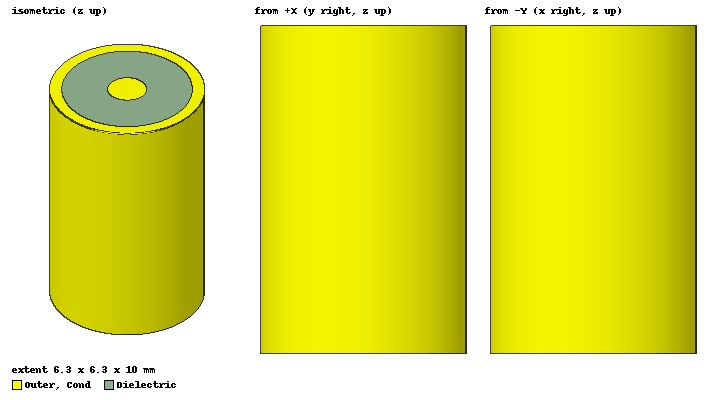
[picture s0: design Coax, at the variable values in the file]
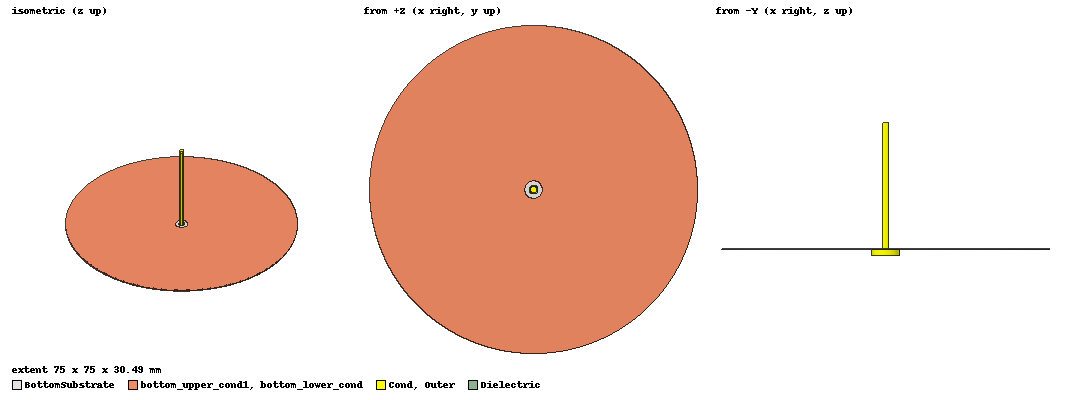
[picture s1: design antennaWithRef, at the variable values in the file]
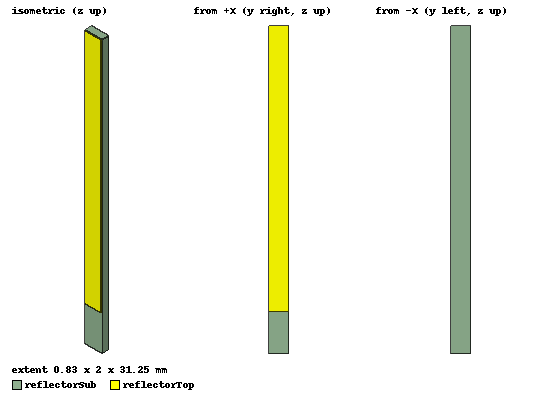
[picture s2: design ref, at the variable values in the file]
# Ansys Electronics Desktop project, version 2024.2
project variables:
  $groundT = 17um
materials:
  vacuum: permittivity=1
  Teflon (tm): permittivity=2.1 dielectric_loss_tangent=0.001
  copper: permeability=0.999991 conductivity=58000000
  Rogers RO4003 (tm): permittivity=3.55 dielectric_loss_tangent=0.0027

design Coax (HFSS, HFSS Terminal Network, model units mm)
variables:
  Hout = 10mm
  Hdia = 10mm
  Rout = 3.15mm
  Rdia = 2.65mm
  Hcond = 10mm
  Rcond = 0.79mm
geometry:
  Outer [copper] = cylinder(axis=Z, base_centre=(0mm, 0mm, 0mm), radius=Rout, height=Hout)
  Cylinder1 = cylinder(axis=Z, base_centre=(0mm, 0mm, 0mm), radius=Rdia, height=Hdia)
  Outer.subtract(Cylinder1)
  Dielectric [Teflon (tm)] = cylinder(axis=Z, base_centre=(0mm, 0mm, 0mm), radius=Rdia, height=Hdia)
  Cond [copper] = cylinder(axis=Z, base_centre=(0mm, 0mm, 0mm), radius=Rcond, height=Hcond)
  Cylinder2_1 = Cond.copy()
  Dielectric.subtract(Cylinder2_1)

design antennaWithRef (HFSS, HFSS Terminal Network, model units mm)
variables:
  Hout = Hdown
  Rout = 3.15mm
  groundT = 17um
  Hdown = 1.5mm
  Rdia = 2.65mm
  SubW = 150mm
  Hdia = Hdown
  SubL = 150mm
  lam = 115mm
  Rcond = 0.79mm
  SubH = 0.203mm
  Hcond = Hdown + 2*groundT + subH + lam/4
  Rhole = 1mm
  RholeTop = 2mm
  lambda = 130mm
  refW = 3mm
  refH = 27mm
  refy = 0mm
  refSubThickness = 0.813mm
  refx = -lambda/4
  refz = 2*groundT + SubH
  contact = 2mm
  sep = 0mm
  RadSubstrate = 37.5mm
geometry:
  bottom_lower_cond [copper] = cylinder(axis=Z, base_centre=(0mm, 0mm, 0mm), radius=RadSubstrate, height=groundT)
  BottomSubstrate [Rogers RO4003 (tm)] = cylinder(axis=Z, base_centre=(0mm, 0mm, groundT), radius=RadSubstrate, height=SubH)
  bottom_upper_cond1 [copper, solve inside] = cylinder(axis=Z, base_centre=(0mm, 0mm, SubH+groundT), radius=RadSubstrate, height=groundT)
  hole = cylinder(axis=Z, base_centre=(0mm, 0mm, 0mm), radius=Rhole, height=SubH+groundT)
  holeTop = cylinder(axis=Z, base_centre=(0mm, 0mm, SubH+groundT), radius=RholeTop, height=groundT)
  bottom_upper_cond1.subtract(holeTop)
  hole_1 = hole.copy()
  bottom_lower_cond.subtract(hole_1)
  BottomSubstrate.subtract(hole)
  Outer [copper] = cylinder(axis=Z, base_centre=(0mm, 0mm, -Hdown), radius=Rout, height=Hout)
  Cylinder1 = cylinder(axis=Z, base_centre=(0mm, 0mm, -Hdown), radius=Rdia, height=Hdia)
  Outer.subtract(Cylinder1)
  Dielectric [Teflon (tm)] = cylinder(axis=Z, base_centre=(0mm, 0mm, -Hdown), radius=Rdia, height=Hdia)
  Cond [copper] = cylinder(axis=Z, base_centre=(0mm, 0mm, -Hdown), radius=Rcond, height=Hcond)
  Cylinder2_1 = Cond.copy()
  Dielectric.subtract(Cylinder2_1)

design ref (HFSS, HFSS Terminal Network, model units mm)
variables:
  refy = 0mm
  refW = 2mm
  lambda = 125mm
  refSubThickness = 0.813mm
  refz = 0mm
  refx = 0mm
  refH = lambda/4
  sep = 2mm
  contact = 2mm
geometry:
  reflectorSub [Rogers RO4003 (tm)] = box(corner=(refx-$groundT, refy-refW/2, refz), size=(-refSubThickness, refW, refH))
  reflectorTop [copper] = box(corner=(refx-$groundT, refy-refW/2, refz+sep + contact), size=($groundT, refW, refH - sep - contact))
  group reflector_Group = reflectorSub, reflectorTop
